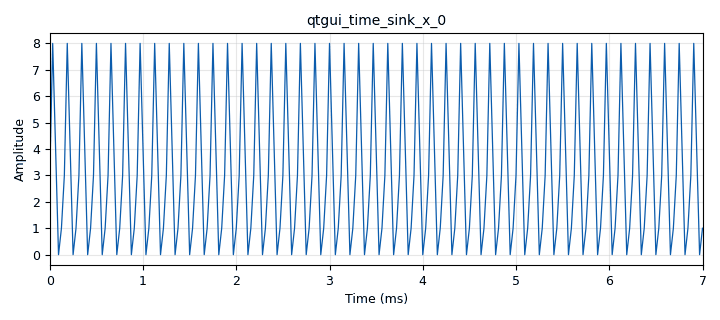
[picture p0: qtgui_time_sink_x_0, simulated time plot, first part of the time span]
options:
  parameters:
    generate_options: qt_gui
    id: lab2_PI_Jordy
    output_language: python
    title: Not titled yet
  states: {}

blocks:
- name: samp_rate
  id: variable
  parameters:
    value: '32000'
  states: {}
- name: blocks_throttle2_0
  id: blocks_throttle2
  parameters:
    samples_per_second: samp_rate
    type: float
  states: {}
- name: blocks_vector_source_x_0
  id: blocks_vector_source_x
  parameters:
    repeat: 'True'
    type: float
    vector: (1, 2, 5, -4, -4)
  states: {}
- name: epy_block_0
  id: epy_block
  parameters:
    _source_code: |
      import numpy as np
      from gnuradio import gr

      class blk(gr.sync_block):
          def __init__(self):
              gr.sync_block.__init__(
                  self,
                  name='Acumulador_memoria',
                  in_sig=[np.float32],
                  out_sig=[np.float32]
              )

              # Memoria: permite continuidad entre llamadas a work()
              # (Patrón del libro: acum_anterior + cumsum y guardar el último valor)
              self.acum_anterior = 0.0

          def work(self, input_items, output_items):
              x = input_items[0]      # entrada
              y0 = output_items[0]    # salida
              N = len(x)

              acumulado = self.acum_anterior + np.cumsum(x)
              self.acum_anterior = acumulado[N - 1]
              y0[:] = acumulado

              return len(x)
  states: {}
- name: qtgui_number_sink_0
  id: qtgui_number_sink
  parameters:
    autoscale: 'True'
    graph_type: qtgui.NUM_GRAPH_HORIZ
    type: float
  states: {}
- name: qtgui_time_sink_x_0
  id: qtgui_time_sink_x
  parameters:
    autoscale: 'True'
    size: '1024'
    srate: samp_rate
    type: float
  states: {}

connections:
- [blocks_throttle2_0, '0', epy_block_0, '0']
- [blocks_vector_source_x_0, '0', blocks_throttle2_0, '0']
- [epy_block_0, '0', qtgui_number_sink_0, '0']
- [epy_block_0, '0', qtgui_time_sink_x_0, '0']

metadata:
  file_format: 1
  grc_version: 3.10.9.2
